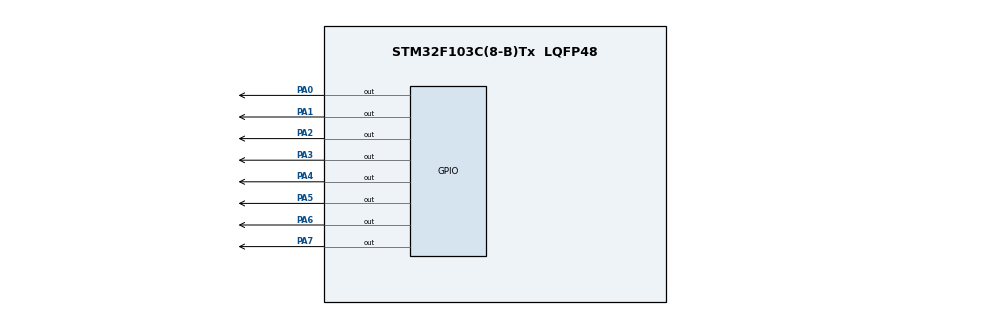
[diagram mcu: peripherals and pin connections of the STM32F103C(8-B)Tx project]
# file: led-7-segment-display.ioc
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Mcu.Family=STM32F1
Mcu.Name=STM32F103C(8-B)Tx
Mcu.Package=LQFP48
NVIC.PriorityGroup=NVIC_PRIORITYGROUP_4
PA0-WKUP.Signal=GPIO_Output
PA1.Signal=GPIO_Output
PA2.Signal=GPIO_Output
PA3.Signal=GPIO_Output
PA4.Signal=GPIO_Output
PA5.Signal=GPIO_Output
PA6.Signal=GPIO_Output
PA7.Signal=GPIO_Output
ProjectManager.HeapSize=0x200
ProjectManager.StackSize=0x400
ProjectManager.TargetToolchain=STM32CubeIDE
RCC.APB1Freq_Value=8000000
RCC.APB2Freq_Value=8000000
board=custom

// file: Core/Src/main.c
/* USER CODE BEGIN Header */
/**
  ******************************************************************************
  * @file           : main.c
  * @brief          : Main program body
  ******************************************************************************
  * @attention
  *
  * Copyright (c) 2024 STMicroelectronics.
  * All rights reserved.
  *
  * This software is licensed under terms that can be found in the LICENSE file
  * in the root directory of this software component.
  * If no LICENSE file comes with this software, it is provided AS-IS.
  *
  ******************************************************************************
  */
/* USER CODE END Header */
#include "main.h"

/* USER CODE BEGIN PV */
int ANODE_7_SEG_MAP[10] = {
				  0xC0,
				  0xF9,
				  0xA4,
				  0xB0,
				  0x99,
				  0x92,
				  0x82,
				  0x8F,
				  0x80,
				  0x90,
				  0x88,
				  0x83,
				  0xC6,
				  0xA1,
				  0x86,
				  0x8E

};
/* USER CODE END PV */

void SystemClock_Config(void);
static void MX_GPIO_Init(void);

int main(void)
{

  /* MCU Configuration--------------------------------------------------------*/

  /* Reset of all peripherals, Initializes the Flash interface and the Systick. */
  HAL_Init();

  /* Configure the system clock */
  SystemClock_Config();

  /* Initialize all configured peripherals */
  MX_GPIO_Init();

  /* Infinite loop */
  while (1)
  {

    /* USER CODE BEGIN 3 */
	for (int i = 0; i < sizeof ANODE_7_SEG_MAP; i++)
	{
	  GPIOA->ODR = ANODE_7_SEG_MAP[i];
	  HAL_Delay(1000);
	}
  }
  /* USER CODE END 3 */
}

void SystemClock_Config(void)
{
  RCC_OscInitTypeDef RCC_OscInitStruct = {0};
  RCC_ClkInitTypeDef RCC_ClkInitStruct = {0};

  /** Initializes the RCC Oscillators according to the specified parameters
  * in the RCC_OscInitTypeDef structure.
  */
  RCC_OscInitStruct.OscillatorType = RCC_OSCILLATORTYPE_HSI;
  RCC_OscInitStruct.HSIState = RCC_HSI_ON;
  RCC_OscInitStruct.HSICalibrationValue = RCC_HSICALIBRATION_DEFAULT;
  RCC_OscInitStruct.PLL.PLLState = RCC_PLL_NONE;
  if (HAL_RCC_OscConfig(&RCC_OscInitStruct) != HAL_OK)
  {
    Error_Handler();
  }

  /** Initializes the CPU, AHB and APB buses clocks
  */
  RCC_ClkInitStruct.ClockType = RCC_CLOCKTYPE_HCLK|RCC_CLOCKTYPE_SYSCLK
                              |RCC_CLOCKTYPE_PCLK1|RCC_CLOCKTYPE_PCLK2;
  RCC_ClkInitStruct.SYSCLKSource = RCC_SYSCLKSOURCE_HSI;
  RCC_ClkInitStruct.AHBCLKDivider = RCC_SYSCLK_DIV1;
  RCC_ClkInitStruct.APB1CLKDivider = RCC_HCLK_DIV1;
  RCC_ClkInitStruct.APB2CLKDivider = RCC_HCLK_DIV1;

  if (HAL_RCC_ClockConfig(&RCC_ClkInitStruct, FLASH_LATENCY_0) != HAL_OK)
  {
    Error_Handler();
  }
}

static void MX_GPIO_Init(void)
{
  GPIO_InitTypeDef GPIO_InitStruct = {0};

  /* GPIO Ports Clock Enable */
  __HAL_RCC_GPIOA_CLK_ENABLE();

  /*Configure GPIO pin Output Level */
  HAL_GPIO_WritePin(GPIOA, GPIO_PIN_0|GPIO_PIN_1|GPIO_PIN_2|GPIO_PIN_3
                          |GPIO_PIN_4|GPIO_PIN_5|GPIO_PIN_6|GPIO_PIN_7, GPIO_PIN_RESET);

  /*Configure GPIO pins : PA0 PA1 PA2 PA3
                           PA4 PA5 PA6 PA7 */
  GPIO_InitStruct.Pin = GPIO_PIN_0|GPIO_PIN_1|GPIO_PIN_2|GPIO_PIN_3
                          |GPIO_PIN_4|GPIO_PIN_5|GPIO_PIN_6|GPIO_PIN_7;
  GPIO_InitStruct.Mode = GPIO_MODE_OUTPUT_PP;
  GPIO_InitStruct.Pull = GPIO_NOPULL;
  GPIO_InitStruct.Speed = GPIO_SPEED_FREQ_LOW;
  HAL_GPIO_Init(GPIOA, &GPIO_InitStruct);

}

void Error_Handler(void)
{
  __disable_irq();
  while (1)
  {
  }
}
